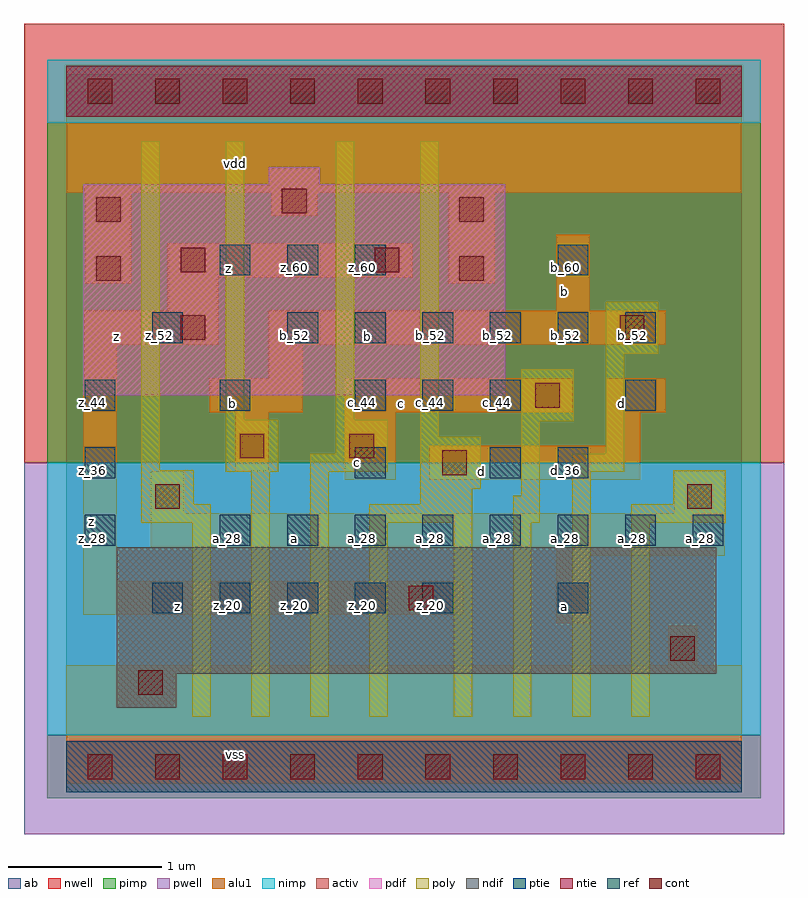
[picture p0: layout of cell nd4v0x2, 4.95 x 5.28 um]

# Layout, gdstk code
import gdstk
lib = gdstk.Library(unit=1e-6, precision=2.5e-09)
def R(c, l, rs):  # rectangles x0, y0, x1, y1
    for r in rs: c.add(gdstk.rectangle(r[:2], r[2:], *l))
def A(c, l, x, y, w, h, nx, ny, dx, dy):  # array of equal rectangles
    R(c, l, [(x+i*dx, y+j*dy, x+i*dx+w, y+j*dy+h) for i in range(nx) for j in range(ny)])
ndif = (3, 0)
pdif = (4, 0)
ntie = (5, 0)
ptie = (6, 0)
ref = (24, 0)
cont = (25, 0)
pwell = (41, 0)
nwell = (42, 0)
activ = (43, 0)
pimp = (44, 0)
nimp = (45, 0)
poly = (46, 0)
alu1 = (49, 0)
ab = (63, 0)

nd4v0x2 = lib.new_cell('nd4v0x2')
R(nd4v0x2, ndif, [(0.33,0.385,0.715,0.605), (0.33,0.605,4.235,1.43)])
R(nd4v0x2, pdif, [(0.11,2.42,2.86,3.795), (1.32,3.795,1.65,3.905)])
R(nd4v0x2, ntie, [(0,4.235,4.4,4.565)])
R(nd4v0x2, ptie, [(0,-0.165,4.4,0.165)])
A(nd4v0x2, ref, 0.56, 1, 0.2, 0.2, 5, 1, 0.44, 0)
A(nd4v0x2, ref, 1, 1.44, 0.2, 0.2, 8, 1, 0.44, 0)
A(nd4v0x2, ref, 0.12, 2.32, 0.2, 0.2, 3, 1, 0.88, 0)
A(nd4v0x2, ref, 1.44, 2.76, 0.2, 0.2, 6, 1, 0.44, 0)
A(nd4v0x2, ref, 1, 3.2, 0.2, 0.2, 3, 1, 0.44, 0)
R(nd4v0x2, ref, [(3.2,1,3.4,1.2), (0.12,1.44,0.32,1.64), (0.12,1.88,0.32,2.08), (1.88,1.88,2.08,2.08), (2.76,1.88,2.96,2.08), (3.2,1.88,3.4,2.08), (2.32,2.32,2.52,2.52), (2.76,2.32,2.96,2.52), (3.64,2.32,3.84,2.52), (0.56,2.76,0.76,2.96), (3.2,3.2,3.4,3.4)])
A(nd4v0x2, cont, 0.14, -0.08, 0.16, 0.16, 10, 2, 0.44, 4.4)
R(nd4v0x2, cont, [(0.47,0.47,0.63,0.63), (3.935,0.69,4.095,0.85), (2.23,1.02,2.39,1.18), (0.58,1.68,0.74,1.84), (4.045,1.68,4.205,1.84), (2.45,1.9,2.61,2.06), (1.13,2.01,1.29,2.17), (1.845,2.01,2.005,2.17), (3.055,2.34,3.215,2.5), (0.745,2.78,0.905,2.94), (3.605,2.78,3.765,2.94), (0.195,3.165,0.355,3.325), (2.56,3.165,2.72,3.325), (0.745,3.22,0.905,3.38), (2.01,3.22,2.17,3.38), (0.195,3.55,0.355,3.71), (2.56,3.55,2.72,3.71), (1.405,3.605,1.565,3.765)])
R(nd4v0x2, pwell, [(-0.275,-0.44,4.675,1.98)])
R(nd4v0x2, nwell, [(-0.275,1.98,4.675,4.84)])
R(nd4v0x2, activ, [(0,-0.165,4.4,0.165), (0.33,0.385,0.715,0.605), (0.33,0.605,4.235,1.43), (0.11,2.42,2.86,3.795), (1.32,3.795,1.65,3.905), (0,4.235,4.4,4.565)])
R(nd4v0x2, pimp, [(-0.125,-0.205,4.525,0.205), (-0.125,1.98,4.525,4.195)])
R(nd4v0x2, nimp, [(-0.125,0.205,4.525,1.98), (-0.125,4.195,4.525,4.605)])
R(nd4v0x2, poly, [(0.82,0.325,0.94,1.59), (1.205,0.325,1.325,1.92), (1.59,0.325,1.71,1.92), (1.975,0.325,2.095,1.59), (2.525,0.325,2.645,1.59), (2.91,0.325,3.03,1.59), (3.295,0.325,3.415,1.92), (3.68,0.325,3.8,1.59), (0.49,1.59,0.94,1.71), (1.975,1.59,2.645,1.71), (2.91,1.59,3.085,1.765), (3.68,1.59,4.295,1.71), (0.49,1.71,0.83,1.93), (2.305,1.71,2.645,1.81), (3.955,1.71,4.295,1.93), (2.965,1.765,3.085,2.25), (2.305,1.81,2.7,2.15), (1.04,1.92,1.38,2.26), (1.59,1.92,2.095,2.04), (3.295,1.92,3.635,2.04), (0.49,1.93,0.61,4.075), (1.755,2.04,2.095,2.26), (3.515,2.04,3.635,2.69), (2.305,2.15,2.425,4.075), (2.965,2.25,3.305,2.59), (1.04,2.26,1.16,4.075), (1.755,2.26,1.875,4.075), (3.515,2.69,3.855,3.03)])
R(nd4v0x2, alu1, [(0,-0.11,4.4,0.66), (3.92,0.66,4.11,0.92), (3.19,0.935,3.41,1.375), (0.11,0.99,2.585,1.21), (0.11,1.21,0.33,2.75), (3.19,1.375,4.29,1.43), (0.55,1.43,4.29,1.65), (0.55,1.65,0.77,1.925), (3.96,1.65,4.29,1.925), (1.815,1.87,2.145,2.31), (2.365,1.87,3.74,2.09), (1.1,1.925,1.32,2.31), (3.52,2.09,3.74,2.31), (0.935,2.31,1.54,2.53), (1.815,2.31,3.3,2.53), (3.52,2.31,3.905,2.53), (1.32,2.53,1.54,2.75), (0.11,2.75,0.99,2.97), (1.32,2.75,3.905,2.97), (0.66,2.97,0.99,3.19), (3.19,2.97,3.41,3.465), (0.125,3.15,0.425,3.74), (2.49,3.15,2.79,3.74), (0.66,3.19,2.255,3.41), (1.335,3.59,1.635,3.74), (0,3.74,4.4,4.51)])
R(nd4v0x2, ab, [(0,0,4.4,4.4)])
nd4v0x2.add(gdstk.Label('vss', (1.1,0.0825), layer=49, texttype=0))
nd4v0x2.add(gdstk.Label('a', (3.245,1.045), layer=49, texttype=0))
nd4v0x2.add(gdstk.Label('z', (0.7275,1.045), layer=49, texttype=0))
nd4v0x2.add(gdstk.Label('a', (1.485,1.485), layer=49, texttype=0))
nd4v0x2.add(gdstk.Label('d', (2.7075,1.925), layer=49, texttype=0))
nd4v0x2.add(gdstk.Label('c', (1.8975,1.98), layer=49, texttype=0))
nd4v0x2.add(gdstk.Label('d', (3.615,2.365), layer=49, texttype=0))
nd4v0x2.add(gdstk.Label('c', (2.185,2.365), layer=49, texttype=0))
nd4v0x2.add(gdstk.Label('b', (1.085,2.365), layer=49, texttype=0))
nd4v0x2.add(gdstk.Label('z', (0.165,1.595), layer=49, texttype=0))
nd4v0x2.add(gdstk.Label('b', (1.965,2.805), layer=49, texttype=0))
nd4v0x2.add(gdstk.Label('z', (0.33,2.805), layer=49, texttype=0))
nd4v0x2.add(gdstk.Label('b', (3.245,3.0925), layer=49, texttype=0))
nd4v0x2.add(gdstk.Label('z', (1.0575,3.245), layer=49, texttype=0))
nd4v0x2.add(gdstk.Label('vdd', (1.1,3.9325), layer=49, texttype=0))
nd4v0x2.add(gdstk.Label('z_20', (0.61,1.05), layer=24, texttype=0))
nd4v0x2.add(gdstk.Label('z_52', (0.61,2.81), layer=24, texttype=0))
nd4v0x2.add(gdstk.Label('z_20', (1.05,1.05), layer=24, texttype=0))
nd4v0x2.add(gdstk.Label('a_28', (1.05,1.49), layer=24, texttype=0))
nd4v0x2.add(gdstk.Label('b_44', (1.05,2.37), layer=24, texttype=0))
nd4v0x2.add(gdstk.Label('z_60', (1.05,3.25), layer=24, texttype=0))
nd4v0x2.add(gdstk.Label('z_20', (1.49,1.05), layer=24, texttype=0))
nd4v0x2.add(gdstk.Label('a_28', (1.49,1.49), layer=24, texttype=0))
nd4v0x2.add(gdstk.Label('b_52', (1.49,2.81), layer=24, texttype=0))
nd4v0x2.add(gdstk.Label('z_60', (1.49,3.25), layer=24, texttype=0))
nd4v0x2.add(gdstk.Label('z_20', (1.93,1.05), layer=24, texttype=0))
nd4v0x2.add(gdstk.Label('a_28', (1.93,1.49), layer=24, texttype=0))
nd4v0x2.add(gdstk.Label('c_36', (1.93,1.93), layer=24, texttype=0))
nd4v0x2.add(gdstk.Label('c_44', (1.93,2.37), layer=24, texttype=0))
nd4v0x2.add(gdstk.Label('b_52', (1.93,2.81), layer=24, texttype=0))
nd4v0x2.add(gdstk.Label('z_60', (1.93,3.25), layer=24, texttype=0))
nd4v0x2.add(gdstk.Label('z_28', (0.17,1.49), layer=24, texttype=0))
nd4v0x2.add(gdstk.Label('z_36', (0.17,1.93), layer=24, texttype=0))
nd4v0x2.add(gdstk.Label('z_44', (0.17,2.37), layer=24, texttype=0))
nd4v0x2.add(gdstk.Label('z_20', (2.37,1.05), layer=24, texttype=0))
nd4v0x2.add(gdstk.Label('a_28', (2.37,1.49), layer=24, texttype=0))
nd4v0x2.add(gdstk.Label('c_44', (2.37,2.37), layer=24, texttype=0))
nd4v0x2.add(gdstk.Label('b_52', (2.37,2.81), layer=24, texttype=0))
nd4v0x2.add(gdstk.Label('a_28', (2.81,1.49), layer=24, texttype=0))
nd4v0x2.add(gdstk.Label('d_36', (2.81,1.93), layer=24, texttype=0))
nd4v0x2.add(gdstk.Label('c_44', (2.81,2.37), layer=24, texttype=0))
nd4v0x2.add(gdstk.Label('b_52', (2.81,2.81), layer=24, texttype=0))
nd4v0x2.add(gdstk.Label('a_20', (3.25,1.05), layer=24, texttype=0))
nd4v0x2.add(gdstk.Label('a_28', (3.25,1.49), layer=24, texttype=0))
nd4v0x2.add(gdstk.Label('d_36', (3.25,1.93), layer=24, texttype=0))
nd4v0x2.add(gdstk.Label('b_52', (3.25,2.81), layer=24, texttype=0))
nd4v0x2.add(gdstk.Label('b_60', (3.25,3.25), layer=24, texttype=0))
nd4v0x2.add(gdstk.Label('a_28', (3.69,1.49), layer=24, texttype=0))
nd4v0x2.add(gdstk.Label('d_44', (3.69,2.37), layer=24, texttype=0))
nd4v0x2.add(gdstk.Label('b_52', (3.69,2.81), layer=24, texttype=0))
nd4v0x2.add(gdstk.Label('a_28', (4.13,1.49), layer=24, texttype=0))

lib.write_gds('nd4v0x2.gds')
